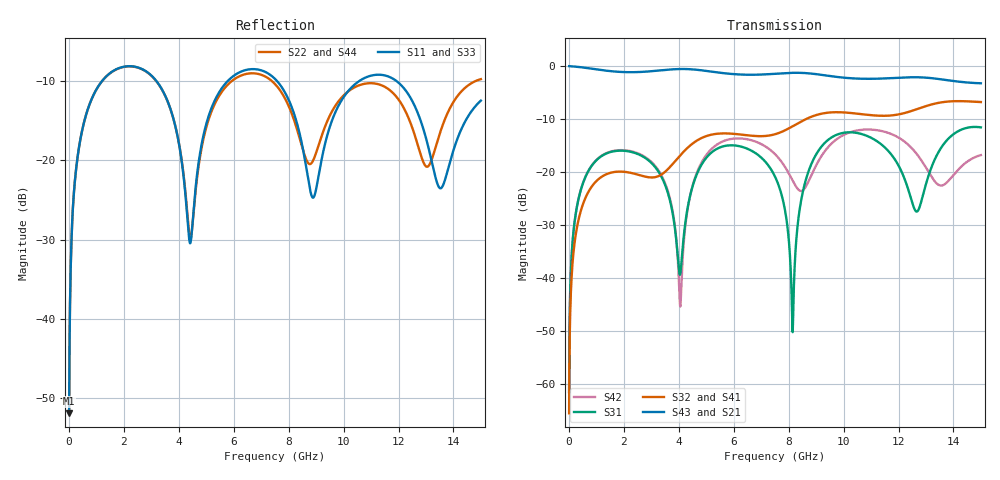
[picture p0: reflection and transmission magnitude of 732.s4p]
! Created with skrf 1.8.0 (http://scikit-rf.org).
# GHz S RI R 50.0
!freq ReS11 ImS11 ReS12 ImS12 ReS13 ImS13
! ReS14 ImS14
! ReS21 ImS21 ReS22 ImS22 ReS23 ImS23
! ReS24 ImS24
! ReS31 ImS31 ReS32 ImS32 ReS33 ImS33
! ReS34 ImS34
! ReS41 ImS41 ReS42 ImS42 ReS43 ImS43
! ReS44 ImS44
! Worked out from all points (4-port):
!   2499 points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, 5 MHz to 15 GHz, reference 50 ohm
!   strongest paths, dB at 5 MHz, 3.476 GHz, 7.19 GHz, 11.1 GHz, 15 GHz:
!     S43: 0.0, -0.7, -1.6, -2.4, -3.2
!     S21: 0.0, -0.7, -1.6, -2.4, -3.2
!     S32: -65.6, -20.1, -13.2, -9.3, -6.8
!     S41: -65.6, -20.1, -13.3, -9.4, -6.8
!     S31: -61.6, -22.1, -18.3, -13.8, -11.6
!     S42: -61.6, -21.9, -15.3, -12.0, -16.8
!   lowest |S11| = -51.9 dB at 5 MHz (marker M1), VSWR 1.01, Z = 50.2 + j0.154 ohm
!   |S11| at or under -10 dB: 3.18 GHz to 5.785 GHz (2.604 GHz wide, 58.1 % of centre); 7.572 GHz to 10.58 GHz (3.004 GHz wide, 33.1 % of centre); 11.92 GHz to end of sweep (the widest 3 of 4)
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0.005  0.00203 0.00154  0.9979 -0.00394  0.000104 0.000827  -0.000101 -0.000516
       0.9979 -0.00394  0.00203 0.00154  -0.000101 -0.000516  0.000104 0.000827
       0.000104 0.000827  -0.000101 -0.000516  0.00203 0.00154  0.9979 -0.00394
       -0.000101 -0.000516  0.000104 0.000827  0.9979 -0.00394  0.00203 0.00154
1.3193  0.2862 0.1694  0.5141 -0.7476  0.1348 0.0605  -0.094 -0.000321
        0.5141 -0.7476  0.285 0.1703  -0.0941 -0.000197  0.138 0.0559
        0.1348 0.0605  -0.0941 -0.000197  0.2861 0.1695  0.5141 -0.7476
        -0.094 -0.000321  0.138 0.0559  0.5141 -0.7476  0.285 0.1703
4.045436  0.0549 -0.1018  -0.8803 -0.3242  -0.0107 -0.00117  -0.046 0.1354
          -0.8803 -0.3242  0.0581 -0.1012  -0.0446 0.1358  -0.00528 -0.00127
          -0.0107 -0.00117  -0.0446 0.1358  0.0545 -0.1021  -0.8802 -0.3244
          -0.046 0.1354  -0.00528 -0.00127  -0.8802 -0.3244  0.0586 -0.1012
4.483118  0.0322 0.0182  -0.9309 -0.0182  0.003 0.0704  0.00192 0.1838
          -0.9309 -0.0182  0.0337 0.0152  0.00365 0.1839  0.0196 0.0684
          0.003 0.0704  0.00365 0.1839  0.0313 0.0178  -0.931 -0.0185
          0.00192 0.1838  0.0196 0.0684  -0.931 -0.0185  0.0346 0.015
8.140892  0.1377 -0.1578  0.6649 0.5503  -0.00252 -0.0018  0.168 -0.2107
          0.6649 0.5503  0.1532 -0.1139  0.1626 -0.2152  -0.0546 -0.0629
          -0.00252 -0.0018  0.1626 -0.2152  0.1403 -0.1526  0.6656 0.5504
          0.168 -0.2107  -0.0546 -0.0629  0.6656 0.5504  0.147 -0.1161
11.53606  0.3311 -0.083  -0.0262 -0.7644  0.1545 -0.0639  -0.3288 0.0771
          -0.0262 -0.7644  0.2799 -0.0674  -0.328 0.0871  0.1423 -0.1908
          0.1545 -0.0639  -0.328 0.0871  0.328 -0.0835  -0.0258 -0.7649
          -0.3288 0.0771  0.1423 -0.1908  -0.0258 -0.7649  0.2804 -0.0677
15  0.2207 0.0882  -0.4415 0.5277  0.2544 -0.0696  0.3818 0.2473
    -0.4415 0.5277  0.3163 0.0727  0.3928 0.2343  0.1412 -0.0298
    0.2544 -0.0696  0.3928 0.2343  0.2129 0.0936  -0.4423 0.5268
    0.3818 0.2473  0.1412 -0.0298  -0.4423 0.5268  0.3212 0.0704
